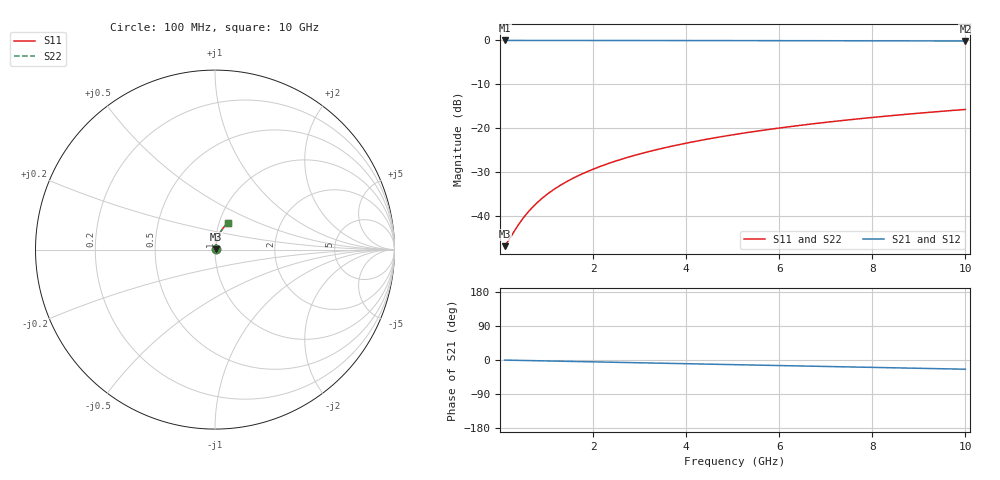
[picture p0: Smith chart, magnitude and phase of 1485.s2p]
# Hz S RI R 50.00
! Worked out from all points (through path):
!   100 points, 100 MHz to 10 GHz, reference 50 ohm
!   highest |S21| = -0.04 dB at 100 MHz (marker M1); lowest = -0.2 dB at 10 GHz (marker M2)
!   group delay of S21, straight-line fit = 6.75 ps
!   lowest |S11| = -46.8 dB at 100 MHz (marker M3), VSWR 1.01, Z = 50.4 + j0.169 ohm
!   |S11| at or under -10 dB: start of sweep to end of sweep
!   |S22| runs from -46.8 to -15.7 dB; largest |S21 - S12| = 0
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1e8  0.00423 0.00168  0.9958 -0.00425  0.9958 -0.00425  0.00423 0.00168
2e8  0.00428 0.00335  0.9957 -0.00849  0.9957 -0.00849  0.00428 0.00335
4e8  0.0044 0.00671  0.9955 -0.017  0.9955 -0.017  0.0044 0.00671
5e8  0.00447 0.00838  0.9954 -0.0212  0.9954 -0.0212  0.00447 0.00838
6e8  0.00457 0.0101  0.9953 -0.0255  0.9953 -0.0255  0.00457 0.0101
7e8  0.00467 0.0117  0.9952 -0.0297  0.9952 -0.0297  0.00467 0.0117
8e8  0.00479 0.0134  0.995 -0.0339  0.995 -0.0339  0.00479 0.0134
1e9  0.00506 0.0167  0.9946 -0.0424  0.9946 -0.0424  0.00506 0.0167
1.2e9  0.00539 0.0201  0.9941 -0.0509  0.9941 -0.0509  0.00539 0.0201
1.5e9  0.00599 0.0251  0.9932 -0.0636  0.9932 -0.0636  0.00599 0.0251
1.8e9  0.00671 0.03  0.9922 -0.0763  0.9922 -0.0763  0.00671 0.03
2.1e9  0.00756 0.035  0.9909 -0.0889  0.9909 -0.0889  0.00756 0.035
2.5e9  0.00888 0.0416  0.989 -0.1058  0.989 -0.1058  0.00888 0.0416
2.9e9  0.0104 0.0481  0.9867 -0.1226  0.9867 -0.1226  0.0104 0.0481
3.4e9  0.0127 0.0561  0.9834 -0.1435  0.9834 -0.1435  0.0127 0.0561
4.2e9  0.017 0.0688  0.9771 -0.1767  0.9771 -0.1767  0.017 0.0688
5.1e9  0.0228 0.0826  0.9684 -0.2137  0.9684 -0.2137  0.0228 0.0826
5.9e9  0.0288 0.0945  0.9594 -0.2461  0.9594 -0.2461  0.0288 0.0945
6.7e9  0.0357 0.1059  0.9492 -0.2781  0.9492 -0.2781  0.0357 0.1059
7.5e9  0.0432 0.1168  0.9378 -0.3096  0.9378 -0.3096  0.0432 0.1168
8.4e9  0.0526 0.1284  0.9236 -0.3443  0.9236 -0.3443  0.0526 0.1284
1e10  0.0713 0.1471  0.8949 -0.404  0.8949 -0.404  0.0713 0.1471
